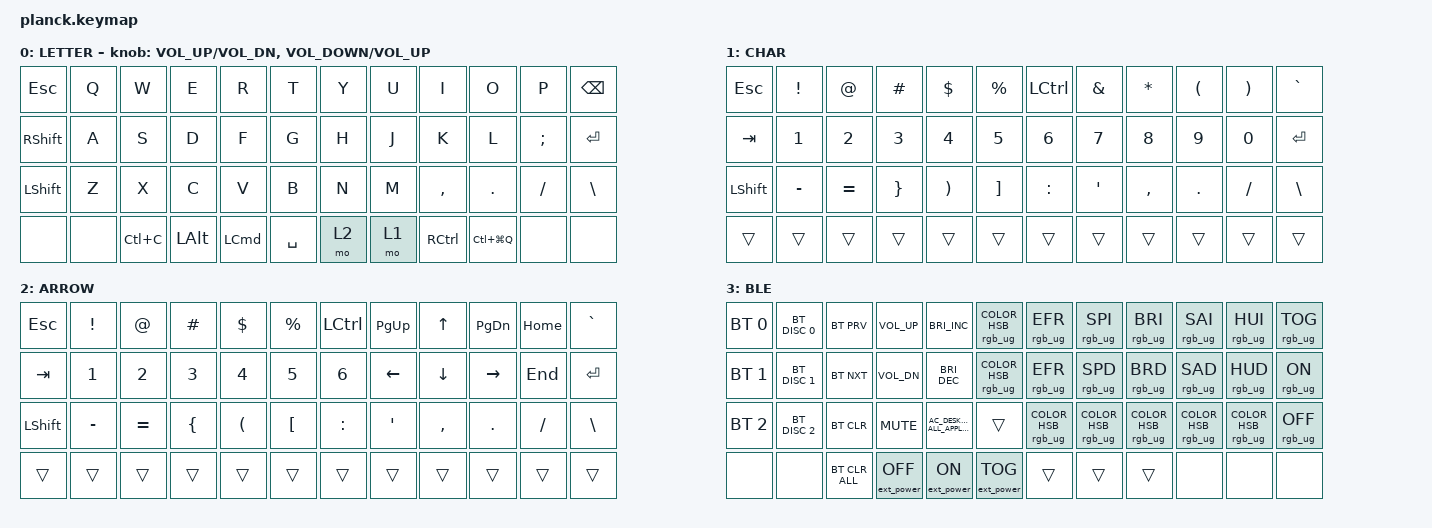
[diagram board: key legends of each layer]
#include <behaviors.dtsi>
#include <dt-bindings/zmk/bt.h>
#include <dt-bindings/zmk/ext_power.h>
#include <dt-bindings/zmk/keys.h>
#include <dt-bindings/zmk/rgb.h>

// / {
//     chosen {
//         zmk,physical-layout = &matrix_physical_layout;
//     };
// };

/ {
    behaviors {
        brace: brace {
            compatible = "zmk,behavior-tap-dance";
            label = "BRACE";
            #binding-cells = <0>;
            bindings = <&kp LEFT_BRACE>, <&kp RIGHT_BRACE>;
        };

        bracket: bracket {
            compatible = "zmk,behavior-tap-dance";
            label = "BRACKET";
            #binding-cells = <0>;
            bindings = <&kp LEFT_BRACKET>, <&kp RIGHT_BRACKET>;
        };

        parenthesis: parenthesis {
            compatible = "zmk,behavior-tap-dance";
            label = "PARENTHESIS";
            #binding-cells = <0>;
            bindings = <&kp LEFT_PARENTHESIS>, <&kp RIGHT_PARENTHESIS>;
        };

        space_cmd: space_cmd {
            compatible = "zmk,behavior-hold-tap";
            label = "SPACE_CMD";
            #binding-cells = <2>;
            tapping-term-ms = <150>;
            bindings = <&kp>, <&kp>;

            quick-tap-ms = <0>;
        };
    };

    combos {
        compatible = "zmk,combos";

        tobt {
            bindings = <&mo 3>;
            key-positions = <43 42 44>;
        };

        desk_l_up {
            bindings = <&kp LC(UP_ARROW)>;
            key-positions = <4 3>;
        };

        desk_r_up {
            bindings = <&kp LC(UP_ARROW)>;
            key-positions = <7 8>;
        };

        desk_l_left {
            bindings = <&kp LC(LEFT)>;
            key-positions = <14 13>;
        };

        desk_r_left {
            bindings = <&kp LC(LEFT)>;
            key-positions = <20 19>;
        };

        desk_l_right {
            bindings = <&kp LC(RIGHT)>;
            key-positions = <16 15>;
        };

        desk_r_right {
            bindings = <&kp LC(RIGHT)>;
            key-positions = <21 22>;
        };

        desk_l_down {
            bindings = <&kp LC(DOWN)>;
            key-positions = <27 28>;
        };

        desk_r_down {
            bindings = <&kp LC(DOWN)>;
            key-positions = <31 32>;
        };
    };

    keymap {
        compatible = "zmk,keymap";

        LETTER {
            // --------------------------------------------------------------------------------------------------------------------------------------------------------------------
            // |   ESC   |    Q    |    W    |    E    |    R    |    T    |                                          |    Y    |    U    |    I    |    O    |    P    |    \    |
            // |   TAB   |    A    |    S    |    D    |    F    |    G    |                                          |    H    |    J    |    K    |    L    |    ;    |    '    |
            // |  SHIFT  |    Z    |    X    |    C    |    V    |    B    | CTRL+A  | CTRL+C  |  |  CTRL+V |  CTRL+X |    N    |    M    |    ,    |    .    |    /    |  R CTRL |
            //                               |   GUI   |   DEL   | RETURN  |  SPACE  | ESCAPE  |  |  RETURN |  SPACE  |   TAB   |   BSPC  |  R ALT  |

            bindings = <
&kp ESC          &kp Q  &kp W      &kp E         &kp R             &kp T            &kp Y  &kp U  &kp I      &kp O          &kp P     &kp BACKSPACE
&kp RIGHT_SHIFT  &kp A  &kp S      &kp D         &kp F             &kp G            &kp H  &kp J  &kp K      &kp L          &kp SEMI  &kp RETURN
&kp LEFT_SHIFT   &kp Z  &kp X      &kp C         &kp V             &kp B            &kp N  &kp M  &kp COMMA  &kp DOT        &kp FSLH  &kp BACKSLASH
&none            &none  &kp LC(C)  &kp LEFT_ALT  &kp LEFT_COMMAND  &kp SPACE        &mo 2  &mo 1  &kp RCTRL  &kp LC(LG(Q))  &none     &none
            >;

            sensor-bindings =
                <&inc_dec_kp C_VOL_UP C_VOL_DN>,
                <&inc_dec_kp C_VOLUME_DOWN C_VOLUME_UP>;

            label = "LETTER";
        };

        CHAR {
            bindings = <
&kp ESC    &kp EXCLAMATION  &kp AT_SIGN  &kp HASH         &kp DOLLAR             &kp PERCENT              &kp LCTRL  &kp AMPERSAND  &kp ASTERISK  &kp LEFT_PARENTHESIS  &kp RIGHT_PARENTHESIS  &kp GRAVE
&kp TAB    &kp N1           &kp N2       &kp N3           &kp N4                 &kp N5                   &kp N6     &kp N7         &kp N8        &kp N9                &kp N0                 &kp RET
&kp LSHFT  &kp MINUS        &kp EQUAL    &kp RIGHT_BRACE  &kp RIGHT_PARENTHESIS  &kp RIGHT_BRACKET        &kp COLON  &kp APOS       &kp COMMA     &kp DOT               &kp FSLH               &kp BSLH
&trans     &trans           &trans       &trans           &trans                 &trans                   &trans     &trans         &trans        &trans                &trans                 &trans
            >;

            label = "CHAR";
        };

        ARROW {
            label = "ARROW";
            bindings = <
&kp ESC    &kp EXCLAMATION  &kp AT_SIGN  &kp HASH        &kp DOLLAR            &kp PERCENT             &kp LCTRL  &kp PAGE_UP  &kp UP_ARROW  &kp PAGE_DOWN  &kp HOME  &kp GRAVE
&kp TAB    &kp N1           &kp N2       &kp N3          &kp N4                &kp N5                  &kp N6     &kp LEFT     &kp DOWN      &kp RIGHT      &kp END   &kp RET
&kp LSHFT  &kp MINUS        &kp EQUAL    &kp LEFT_BRACE  &kp LEFT_PARENTHESIS  &kp LEFT_BRACKET        &kp COLON  &kp APOS     &kp COMMA     &kp DOT        &kp FSLH  &kp BSLH
&trans     &trans           &trans       &trans          &trans                &trans                  &trans     &trans       &trans        &trans         &trans    &trans
            >;
        };

        BLE {
            bindings = <
&bt BT_SEL 0  &bt BT_DISC 0  &bt BT_PRV      &kp C_VOL_UP       &kp C_BRIGHTNESS_INC                    &rgb_ug RGB_COLOR_HSB(296,100,68)        &rgb_ug RGB_EFR                 &rgb_ug RGB_SPI                   &rgb_ug RGB_BRI                    &rgb_ug RGB_SAI                    &rgb_ug RGB_HUI                    &rgb_ug RGB_TOG
&bt BT_SEL 1  &bt BT_DISC 1  &bt BT_NXT      &kp C_VOL_DN       &kp C_BRIGHTNESS_DEC                    &rgb_ug RGB_COLOR_HSB(360,100,51)        &rgb_ug RGB_EFR                 &rgb_ug RGB_SPD                   &rgb_ug RGB_BRD                    &rgb_ug RGB_SAD                    &rgb_ug RGB_HUD                    &rgb_ug RGB_ON
&bt BT_SEL 2  &bt BT_DISC 2  &bt BT_CLR      &kp K_MUTE         &kp C_AC_DESKTOP_SHOW_ALL_APPLICATIONS  &trans                                   &rgb_ug RGB_COLOR_HSB(0,0,100)  &rgb_ug RGB_COLOR_HSB(45,100,50)  &rgb_ug RGB_COLOR_HSB(114,100,51)  &rgb_ug RGB_COLOR_HSB(186,100,50)  &rgb_ug RGB_COLOR_HSB(261,100,50)  &rgb_ug RGB_OFF
&none         &none          &bt BT_CLR_ALL  &ext_power EP_OFF  &ext_power EP_ON                        &ext_power EP_TOG                        &trans                          &trans                            &trans                             &none                              &none                              &none
            >;

            label = "BLE";
        };
    };
};
